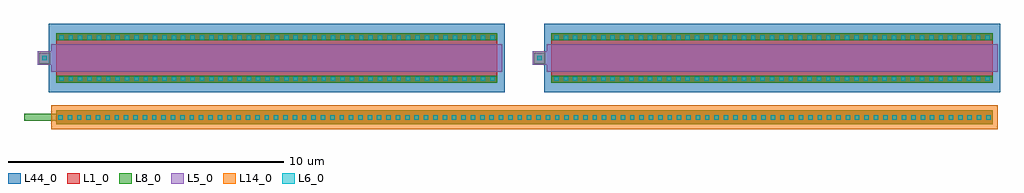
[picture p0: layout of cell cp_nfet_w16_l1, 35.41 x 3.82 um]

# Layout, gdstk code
import gdstk
lib = gdstk.Library(unit=1e-6, precision=1e-09)
def R(c, l, rs):  # rectangles x0, y0, x1, y1
    for r in rs: c.add(gdstk.rectangle(r[:2], r[2:], *l))
def A(c, l, x, y, w, h, nx, ny, dx, dy):  # array of equal rectangles
    R(c, l, [(x+i*dx, y+j*dy, x+i*dx+w, y+j*dy+h) for i in range(nx) for j in range(ny)])
L1_0 = (1, 0)
L5_0 = (5, 0)
L6_0 = (6, 0)
L8_0 = (8, 0)
L14_0 = (14, 0)
L44_0 = (44, 0)

cp_nfet_w16_l1 = lib.new_cell('cp_nfet_w16_l1')
R(cp_nfet_w16_l1, L1_0, [(1.3,0.96,35.26,1.46), (1.3,2.46,17.3,4.26), (19.26,2.46,35.26,4.26)])
R(cp_nfet_w16_l1, L5_0, [(1.12,2.86,17.48,3.86), (19.08,2.86,35.44,3.86), (0.62,3.11,1.12,3.61), (18.58,3.11,19.08,3.61)])
A(cp_nfet_w16_l1, L6_0, 1.37, 1.13, 0.16, 0.16, 100, 1, 0.34, 0)
A(cp_nfet_w16_l1, L6_0, 1.4, 2.53, 0.16, 0.16, 47, 2, 0.34, 1.5)
A(cp_nfet_w16_l1, L6_0, 19.36, 2.53, 0.16, 0.16, 47, 2, 0.34, 1.5)
R(cp_nfet_w16_l1, L6_0, [(0.79,3.28,0.95,3.44), (18.75,3.28,18.91,3.44)])
R(cp_nfet_w16_l1, L8_0, [(1.3,0.96,35.26,1.46), (0.125,1.085,1.3,1.335), (1.3,2.46,17.3,2.72), (19.26,2.46,35.26,2.72), (0.67,3.16,1.07,3.56), (18.63,3.16,19.03,3.56), (1.3,4,17.3,4.26), (19.26,4,35.26,4.26)])
R(cp_nfet_w16_l1, L14_0, [(1.12,0.78,35.44,1.64)])
R(cp_nfet_w16_l1, L44_0, [(1.03,2.12,17.57,4.6), (18.99,2.12,35.53,4.6)])

lib.write_gds('cp_nfet_w16_l1.gds')
